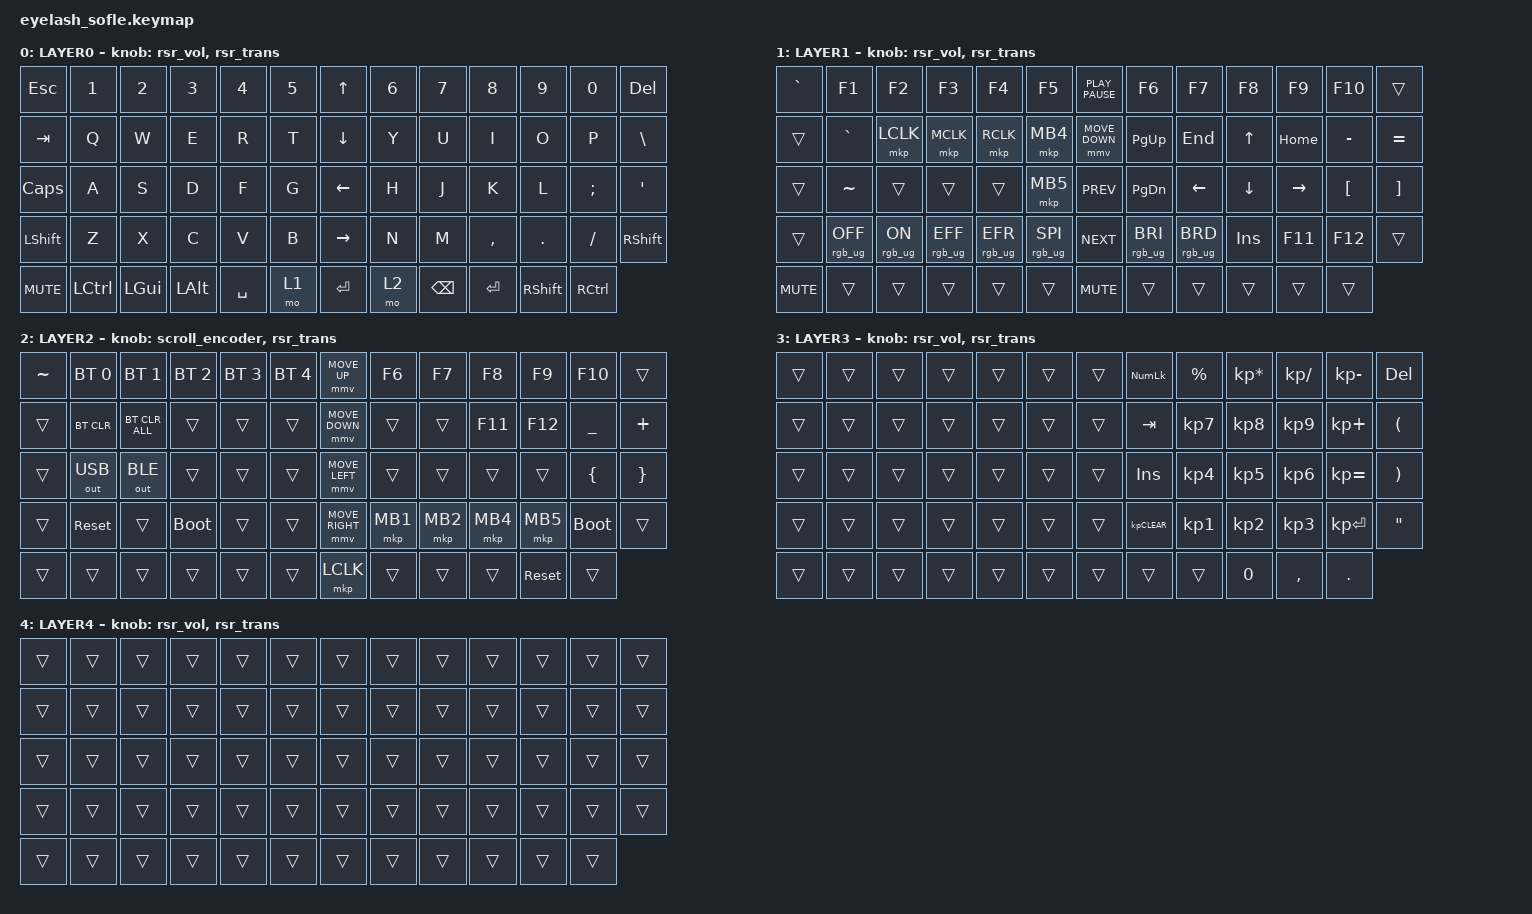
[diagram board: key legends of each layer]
#define ZMK_POINTING_DEFAULT_MOVE_VAL 1200  // 600
#define ZMK_POINTING_DEFAULT_SCRL_VAL 25   // 10

#include <input/processors.dtsi>
#include <zephyr/dt-bindings/input/input-event-codes.h>
#include <behaviors/runtime-sensor-rotate.dtsi>
#include <behaviors.dtsi>
#include <dt-bindings/zmk/bt.h>
#include <dt-bindings/zmk/keys.h>
#include <dt-bindings/zmk/outputs.h>
#include <dt-bindings/zmk/pointing.h>
#include <dt-bindings/zmk/rgb.h>

&mmv_input_listener { input-processors = <&zip_xy_scaler 2 1>; };

&msc_input_listener { input-processors = <&zip_scroll_scaler 2 1>; };

&msc {
    acceleration-exponent = <1>;      // 0
    time-to-max-speed-ms = <100>;       // 300
    delay-ms = <0>;                   // 0
};

&mmv {
    time-to-max-speed-ms = <500>;
    acceleration-exponent = <1>;
    trigger-period-ms = <16>;
};

&soft_off { hold-time-ms = <2000>; };

/ {
    scroll_encoder: scroll_encoder {
        compatible = "zmk,behavior-sensor-rotate";
        #sensor-binding-cells = <0>;
        bindings = <&msc SCRL_DOWN>, <&msc SCRL_UP>;

        tap-ms = <100>;
    };

    behaviors {
        rsr_vol: rsr_vol {
            compatible = "zmk,behavior-runtime-sensor-rotate";
            #sensor-binding-cells = <0>;
            tap-ms = <5>;
            cw-binding = <&kp C_VOL_UP>;
            ccw-binding = <&kp C_VOL_DN>;
        };

        rsr_trans: rsr_trans {
            compatible = "zmk,behavior-runtime-sensor-rotate";
            #sensor-binding-cells = <0>;
            tap-ms = <0>;
        };
    };

    combos {
        compatible = "zmk,combos";

        softoff {
            bindings = <&soft_off>;
            key-positions = <14 28 40>;
        };

        numLayer {
            bindings = <&to 3>;
            key-positions = <57 59>;
            layers = <0>;
        };

        numLayerOff {
            bindings = <&to 0>;
            key-positions = <57 59>;
            layers = <3>;
        };
    };

    macros {
        SHIFT_MCLK: SHIFT_MCLK {
            compatible = "zmk,behavior-macro";
            #binding-cells = <0>;
            bindings =
                <&macro_press>,
                <&kp LEFT_SHIFT>,
                <&macro_press>,
                <&mkp MB3>,
                <&macro_pause_for_release>,
                <&macro_release>,
                <&kp LEFT_SHIFT &mkp MB3>;

            label = "SHIFT_MCLK";
        };
    };

    keymap {
        compatible = "zmk,keymap";

        layer0 {
            bindings = <
&kp ESC     &kp N1     &kp N2        &kp N3        &kp N4     &kp N5    &kp UP_ARROW     &kp N6  &kp N7         &kp N8     &kp N9           &kp N0     &kp DEL
&kp TAB     &kp Q      &kp W         &kp E         &kp R      &kp T     &kp DOWN_ARROW   &kp Y   &kp U          &kp I      &kp O            &kp P      &kp BSLH
&kp CAPS    &kp A      &kp S         &kp D         &kp F      &kp G     &kp LEFT_ARROW   &kp H   &kp J          &kp K      &kp L            &kp SEMI   &kp APOS
&kp LSHFT   &kp Z      &kp X         &kp C         &kp V      &kp B     &kp RIGHT_ARROW  &kp N   &kp M          &kp COMMA  &kp DOT          &kp FSLH   &kp RSHIFT
&kp C_MUTE  &kp LCTRL  &kp LEFT_GUI  &kp LEFT_ALT  &kp SPACE  &mo 1     &kp ENTER        &mo 2   &kp BACKSPACE  &kp ENTER  &kp RIGHT_SHIFT  &kp RCTRL
            >;

            sensor-bindings = <&rsr_vol &rsr_trans>;
            display-name = "LAYER0";
        };

        layer_1 {
            bindings = <
&kp GRAVE   &kp F1           &kp F2          &kp F3           &kp F4           &kp F5             &kp K_PLAY_PAUSE  &kp F6           &kp F7           &kp F8      &kp F9     &kp F10           &trans
&trans      &kp GRAVE        &mkp LCLK       &mkp MCLK        &mkp RCLK        &mkp MB4           &mmv MOVE_DOWN    &kp PG_UP        &kp END          &kp UP      &kp HOME   &kp MINUS         &kp EQUAL
&trans      &kp TILDE        &trans          &trans           &trans           &mkp MB5           &kp K_PREV        &kp PG_DN        &kp LEFT         &kp DOWN    &kp RIGHT  &kp LEFT_BRACKET  &kp RIGHT_BRACKET
&trans      &rgb_ug RGB_OFF  &rgb_ug RGB_ON  &rgb_ug RGB_EFF  &rgb_ug RGB_EFR  &rgb_ug RGB_SPI    &kp K_NEXT        &rgb_ug RGB_BRI  &rgb_ug RGB_BRD  &kp INSERT  &kp F11    &kp F12           &trans
&kp C_MUTE  &trans           &trans          &trans           &trans           &trans             &kp K_MUTE        &trans           &trans           &trans      &trans     &trans
            >;

            sensor-bindings = <&rsr_vol &rsr_trans>;
            display-name = "LAYER1";
        };

        layer_2 {
            bindings = <
&kp TILDE  &bt BT_SEL 0  &bt BT_SEL 1    &bt BT_SEL 2  &bt BT_SEL 3  &bt BT_SEL 4    &mmv MOVE_UP     &kp F6    &kp F7    &kp F8    &kp F9      &kp F10      &trans
&trans     &bt BT_CLR    &bt BT_CLR_ALL  &trans        &trans        &trans          &mmv MOVE_DOWN   &trans    &trans    &kp F11   &kp F12     &kp UNDER    &kp PLUS
&trans     &out OUT_USB  &out OUT_BLE    &trans        &trans        &trans          &mmv MOVE_LEFT   &trans    &trans    &trans    &trans      &kp LBRC     &kp RBRC
&trans     &sys_reset    &trans          &bootloader   &trans        &trans          &mmv MOVE_RIGHT  &mkp MB1  &mkp MB2  &mkp MB4  &mkp MB5    &bootloader  &trans
&trans     &trans        &trans          &trans        &trans        &trans          &mkp LCLK        &trans    &trans    &trans    &sys_reset  &trans
            >;

            display-name = "LAYER2";
            sensor-bindings = <&scroll_encoder>, <&rsr_trans>;
        };

        Numpad {
            bindings = <
&trans  &trans  &trans  &trans  &trans  &trans    &trans  &kp KP_NUMLOCK  &kp PERCENT      &kp KP_MULTIPLY  &kp KP_DIVIDE    &kp KP_MINUS  &kp DEL
&trans  &trans  &trans  &trans  &trans  &trans    &trans  &kp TAB         &kp KP_NUMBER_7  &kp KP_NUMBER_8  &kp KP_NUMBER_9  &kp KP_PLUS   &kp LEFT_PARENTHESIS
&trans  &trans  &trans  &trans  &trans  &trans    &trans  &kp INS         &kp KP_NUMBER_4  &kp KP_NUMBER_5  &kp KP_NUMBER_6  &kp KP_EQUAL  &kp RIGHT_PARENTHESIS
&trans  &trans  &trans  &trans  &trans  &trans    &trans  &kp KP_CLEAR    &kp KP_NUMBER_1  &kp KP_NUMBER_2  &kp KP_NUMBER_3  &kp KP_ENTER  &kp DOUBLE_QUOTES
&trans  &trans  &trans  &trans  &trans  &trans    &trans  &trans          &trans           &kp N0           &kp COMMA        &kp DOT
            >;

            display-name = "LAYER3";
            sensor-bindings = <&rsr_vol &rsr_trans>;
        };

        layer_4 {
            bindings = <
&trans  &trans  &trans  &trans  &trans  &trans    &trans  &trans  &trans  &trans  &trans  &trans  &trans
&trans  &trans  &trans  &trans  &trans  &trans    &trans  &trans  &trans  &trans  &trans  &trans  &trans
&trans  &trans  &trans  &trans  &trans  &trans    &trans  &trans  &trans  &trans  &trans  &trans  &trans
&trans  &trans  &trans  &trans  &trans  &trans    &trans  &trans  &trans  &trans  &trans  &trans  &trans
&trans  &trans  &trans  &trans  &trans  &trans    &trans  &trans  &trans  &trans  &trans  &trans
            >;

            display-name = "LAYER4";
            sensor-bindings = <&rsr_vol &rsr_trans>;
        };
    };
};
